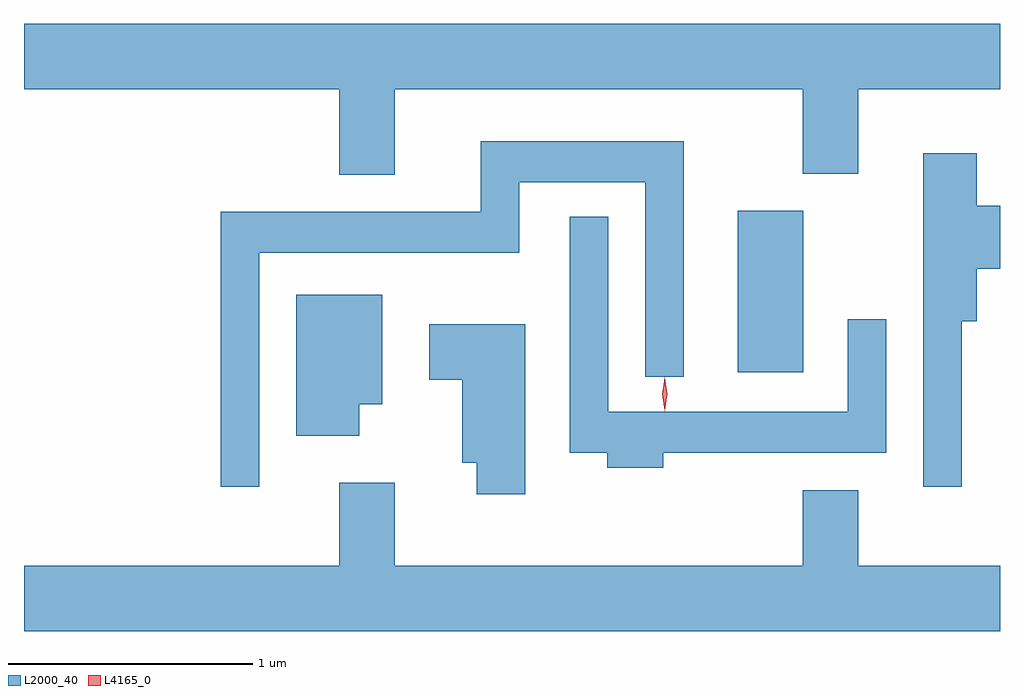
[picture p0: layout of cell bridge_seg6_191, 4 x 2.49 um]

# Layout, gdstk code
import gdstk
lib = gdstk.Library(unit=1e-6, precision=1e-09)
def R(c, l, rs):  # rectangles x0, y0, x1, y1
    for r in rs: c.add(gdstk.rectangle(r[:2], r[2:], *l))
def P(c, l, *ps):  # polygons
    for p in ps: c.add(gdstk.Polygon(p, *l))
L2000_40 = (2000, 40)
L4165_0 = (4165, 0)

bridge_seg6_191 = lib.new_cell('bridge_seg6_191')
R(bridge_seg6_191, L2000_40, [(1103.256,1575.516,1103.524,1576.179)])
P(bridge_seg6_191, L2000_40, [(1101.849,1576.676),(1103.521,1576.676),(1103.521,1576.331),(1103.749,1576.331),(1103.749,1576.676),(1104.33,1576.676),(1104.33,1576.944),(1100.33,1576.944),(1100.33,1576.676),(1101.621,1576.676),(1101.621,1576.326),(1101.849,1576.326)],
  [(1101.294,1576.006),(1102.359,1576.006),(1102.359,1576.296),(1102.876,1576.296),(1102.876,1575.498),(1103.034,1575.498),(1103.034,1576.464),(1102.201,1576.464),(1102.201,1576.174),(1101.136,1576.174),(1101.136,1575.048),(1101.294,1575.048)],
  [(1104.174,1575.726),(1104.234,1575.726),(1104.234,1575.941),(1104.33,1575.941),(1104.33,1576.199),(1104.234,1576.199),(1104.234,1576.414),(1104.016,1576.414),(1104.016,1575.048),(1104.174,1575.048)],
  [(1102.949,1575.186),(1103.864,1575.186),(1103.864,1575.733),(1103.706,1575.733),(1103.706,1575.354),(1102.724,1575.354),(1102.724,1576.153),(1102.566,1576.153),(1102.566,1575.186),(1102.721,1575.186),(1102.721,1575.126),(1102.949,1575.126)],
  [(1101.704,1575.386),(1101.799,1575.386),(1101.799,1575.834),(1101.446,1575.834),(1101.446,1575.256),(1101.704,1575.256)],
  [(1102.384,1575.714),(1101.991,1575.714),(1101.991,1575.486),(1102.126,1575.486),(1102.126,1575.146),(1102.186,1575.146),(1102.186,1575.016),(1102.384,1575.016)],
  [(1104.33,1574.724),(1103.749,1574.724),(1103.749,1575.034),(1103.521,1575.034),(1103.521,1574.724),(1101.849,1574.724),(1101.849,1575.064),(1101.621,1575.064),(1101.621,1574.724),(1100.33,1574.724),(1100.33,1574.456),(1104.33,1574.456)])
P(bridge_seg6_191, L4165_0, [(1102.956,1575.359),(1102.955,1575.36),(1102.946,1575.426),(1102.955,1575.492),(1102.956,1575.493),(1102.956,1575.492),(1102.966,1575.426),(1102.956,1575.36)],
  [(1102.957,1575.357),(1102.956,1575.358),(1102.947,1575.427),(1102.956,1575.496),(1102.957,1575.496),(1102.957,1575.496),(1102.967,1575.427),(1102.957,1575.358)])

lib.write_gds('bridge_seg6_191.gds')
